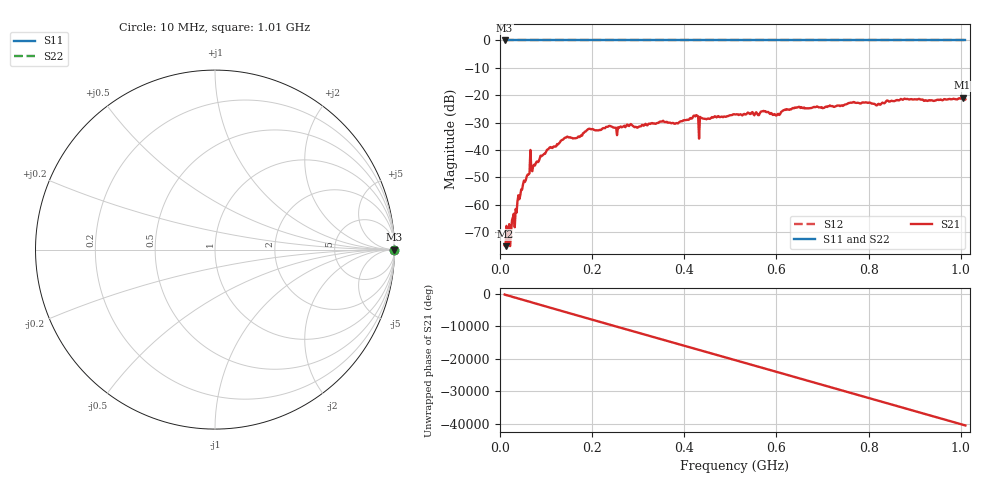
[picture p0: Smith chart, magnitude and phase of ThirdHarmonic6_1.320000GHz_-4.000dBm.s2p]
! 8/16/2025 2:39:58 PM
! C:\ANRITSUVNA\TEMP\TEMP.S2P
! CHANNEL.1
! TR.MEASUREMENT
! RAW.DATA
! RF.CORRECTION.OFF
! AVERAGING.OFF
! IF.BANDWIDTH: 5KHZ
! SWEEPTYPE:  FREQ.SWEEP(Linear)
! Reference Plane Port Info
! PORT:  PORT1  PORT2
! DISTANCE:  0  m  0  m
! TIME:  0  s  0  s
! PHASE.OFFSET:  0  deg.  0  deg.
! LOSS:  0  dB  0  dB
! REF.LOSS:  0  dB  0  dB
! REF.FREQ:  0  Hz  0  Hz
! Power Info
! POWER:  -20  dBm  -20  dBm
! EFF.POWER:  -20  dBm  -20  dBm
! SOURCE.ATTEN:  0  dB  0  dB
! TEST.ATTEN:  0  dB  0  dB
# GHZ S RI R 50.0
! FREQ.GHZ  S11RE  S11IM  S21RE  S21IM  S12RE  S12IM  S22RE  S22IM
!; PortSelection: Port_12
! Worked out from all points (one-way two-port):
!   501 points, 10 MHz to 1.01 GHz, reference 50 ohm
!   highest |S21| = -20.98 dB at 1.004 GHz (marker M1); lowest = -75.2 dB at 12 MHz (marker M2)
!   lowest |S11| = 0.0 dB at 10 MHz (marker M3)
!   |S11| at or under -10 dB: nowhere
!   |S22| runs from 0.0 to 0.0 dB; largest |S21 - S12| = 1.1
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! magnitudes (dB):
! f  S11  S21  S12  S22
! 10 MHz  0.0  -75.0  0.0  0.0
! 12 MHz  0.0  -75.2  0.0  0.0
! 22 MHz  0.0  -75.2  0.0  0.0
! 42 MHz  0.0  -58.0  0.0  0.0
! 62 MHz  0.0  -49.0  0.0  0.0
! 70 MHz  0.0  -47.8  0.0  0.0
! 72 MHz  0.0  -45.9  0.0  0.0
! 106 MHz  0.0  -39.5  0.0  0.0
! 142 MHz  0.0  -35.5  0.0  0.0
! 178 MHz  0.0  -34.8  0.0  0.0
! 194 MHz  0.0  -32.3  0.0  0.0
! 344 MHz  0.0  -30.1  0.0  0.0
! 382 MHz  0.0  -30.2  0.0  0.0
! 424 MHz  0.0  -27.8  0.0  0.0
! 436 MHz  0.0  -28.3  0.0  0.0
! 438 MHz  0.0  -28.4  0.0  0.0
! 510 MHz  0.0  -27.1  0.0  0.0
! 602 MHz  0.0  -26.9  0.0  0.0
! 678 MHz  0.0  -24.6  0.0  0.0
! 844 MHz  0.0  -22.3  0.0  0.0
! 1.004 GHz  0.0  -21.0  0.0  0.0
! 1.01 GHz  0.0  -21.5  0.0  0.0
